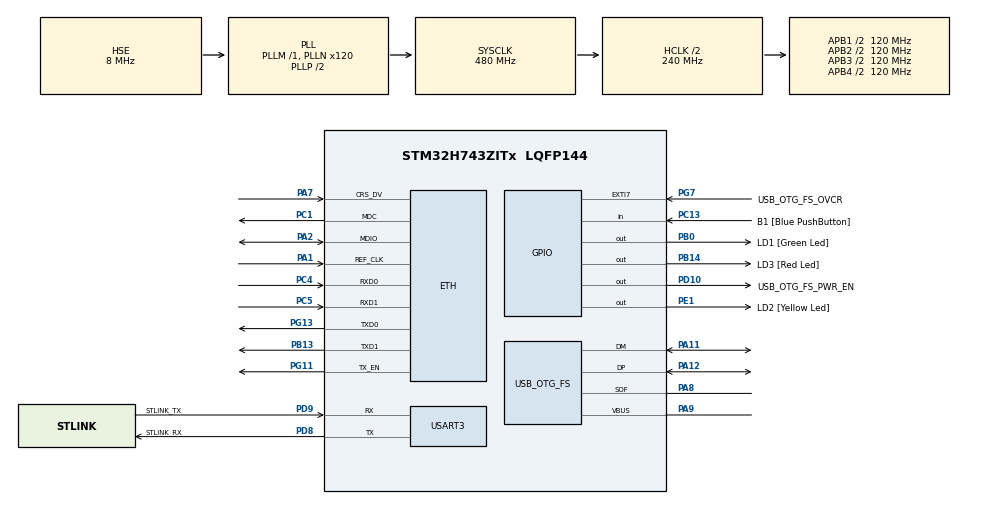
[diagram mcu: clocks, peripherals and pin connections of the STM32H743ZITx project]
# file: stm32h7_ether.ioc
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CORTEX_M7.AccessPermission-Cortex_Memory_Protection_Unit_Region0_Settings=MPU_REGION_FULL_ACCESS
CORTEX_M7.AccessPermission-Cortex_Memory_Protection_Unit_Region1_Settings=MPU_REGION_FULL_ACCESS
CORTEX_M7.BaseAddress-Cortex_Memory_Protection_Unit_Region0_Settings=0x30040000
CORTEX_M7.BaseAddress-Cortex_Memory_Protection_Unit_Region1_Settings=0x30040000
CORTEX_M7.CPU_DCache=Enabled
CORTEX_M7.CPU_ICache=Enabled
CORTEX_M7.DisableExec-Cortex_Memory_Protection_Unit_Region0_Settings=MPU_INSTRUCTION_ACCESS_DISABLE
CORTEX_M7.DisableExec-Cortex_Memory_Protection_Unit_Region1_Settings=MPU_INSTRUCTION_ACCESS_DISABLE
CORTEX_M7.Enable-Cortex_Memory_Protection_Unit_Region0_Settings=MPU_REGION_ENABLE
CORTEX_M7.Enable-Cortex_Memory_Protection_Unit_Region1_Settings=MPU_REGION_ENABLE
CORTEX_M7.IsBufferable-Cortex_Memory_Protection_Unit_Region1_Settings=MPU_ACCESS_BUFFERABLE
CORTEX_M7.IsShareable-Cortex_Memory_Protection_Unit_Region1_Settings=MPU_ACCESS_SHAREABLE
CORTEX_M7.MPU_Control=MPU_PRIVILEGED_DEFAULT
CORTEX_M7.Size-Cortex_Memory_Protection_Unit_Region0_Settings=MPU_REGION_SIZE_32KB
CORTEX_M7.Size-Cortex_Memory_Protection_Unit_Region1_Settings=MPU_REGION_SIZE_256B
CORTEX_M7.TypeExtField-Cortex_Memory_Protection_Unit_Region0_Settings=MPU_TEX_LEVEL1
ETH.MediaInterface=HAL_ETH_RMII_MODE
FREERTOS.Tasks01=defaultTask,0,256,StartDefaultTask,Default,NULL,Dynamic,NULL,NULL
LWIP.BSP.number=1
LWIP.IP_ADDRESS=192.168.000.010
LWIP.LWIP_DHCP=0
LWIP.MEM_SIZE=16360
LWIP.NETMASK_ADDRESS=255.255.255.000
LWIP.Version=v2.1.2_Cube
LWIP0.BSP.STBoard=false
LWIP0.BSP.api=BSP_COMPONENT_DRIVER
LWIP0.BSP.component=LAN8742
LWIP0.BSP.i2caddr=0
LWIP0.BSP.instance=LAN8742
LWIP0.BSP.name=Driver_PHY
LWIP0.BSP.solution=LAN8742
Mcu.Family=STM32H7
Mcu.Name=STM32H743ZITx
Mcu.Package=LQFP144
NVIC.ETH_IRQn=true\:5\:0\:true\:false\:true\:true\:true\:true
NVIC.PriorityGroup=NVIC_PRIORITYGROUP_4
NVIC.TIM2_IRQn=true\:0\:0\:false\:false\:true\:false\:false\:true
NVIC.TimeBase=TIM2_IRQn
NVIC.TimeBaseIP=TIM2
PA1.GPIO_Speed=GPIO_SPEED_FREQ_VERY_HIGH
PA1.Mode=RMII
PA1.Signal=ETH_REF_CLK
PA11.Mode=Device_Only
PA11.Signal=USB_OTG_FS_DM
PA12.Mode=Device_Only
PA12.Signal=USB_OTG_FS_DP
PA2.GPIO_Speed=GPIO_SPEED_FREQ_VERY_HIGH
PA2.Mode=RMII
PA2.Signal=ETH_MDIO
PA7.GPIO_Speed=GPIO_SPEED_FREQ_VERY_HIGH
PA7.Mode=RMII
PA7.Signal=ETH_CRS_DV
PA8.Mode=Activate_SOF_FS
PA8.Signal=USB_OTG_FS_SOF
PA9.Mode=Activate_VBUS
PA9.Signal=USB_OTG_FS_VBUS
PB0.GPIO_Label=LD1 [Green Led]
PB0.Signal=GPIO_Output
PB13.GPIO_Speed=GPIO_SPEED_FREQ_VERY_HIGH
PB13.Mode=RMII
PB13.Signal=ETH_TXD1
PB14.GPIO_Label=LD3 [Red Led]
PB14.Signal=GPIO_Output
PC1.GPIO_Speed=GPIO_SPEED_FREQ_VERY_HIGH
PC1.Mode=RMII
PC1.Signal=ETH_MDC
PC13.GPIO_Label=B1 [Blue PushButton]
PC13.Signal=GPIO_Input
PC14-OSC32_IN\ (OSC32_IN).Mode=LSE-External-Oscillator
PC14-OSC32_IN\ (OSC32_IN).Signal=RCC_OSC32_IN
PC15-OSC32_OUT\ (OSC32_OUT).Mode=LSE-External-Oscillator
PC15-OSC32_OUT\ (OSC32_OUT).Signal=RCC_OSC32_OUT
PC4.GPIO_Speed=GPIO_SPEED_FREQ_VERY_HIGH
PC4.Mode=RMII
PC4.Signal=ETH_RXD0
PC5.GPIO_Speed=GPIO_SPEED_FREQ_VERY_HIGH
PC5.Mode=RMII
PC5.Signal=ETH_RXD1
PD10.GPIO_Label=USB_OTG_FS_PWR_EN
PD10.Signal=GPIO_Output
PD8.GPIO_Label=STLINK_RX
PD8.Mode=Asynchronous
PD8.Signal=USART3_TX
PD9.GPIO_Label=STLINK_TX
PD9.Mode=Asynchronous
PD9.Signal=USART3_RX
PE1.GPIO_Label=LD2 [Yellow Led]
PE1.Signal=GPIO_Output
PG11.GPIO_Speed=GPIO_SPEED_FREQ_VERY_HIGH
PG11.Mode=RMII
PG11.Signal=ETH_TX_EN
PG13.GPIO_Speed=GPIO_SPEED_FREQ_VERY_HIGH
PG13.Mode=RMII
PG13.Signal=ETH_TXD0
PG7.GPIO_Label=USB_OTG_FS_OVCR
PG7.Signal=GPXTI7
PH0-OSC_IN\ (PH0).Mode=HSE-External-Clock-Source
PH0-OSC_IN\ (PH0).Signal=RCC_OSC_IN
PH1-OSC_OUT\ (PH1).Signal=RCC_OSC_OUT
ProjectManager.HeapSize=0x800
ProjectManager.StackSize=0x1600
ProjectManager.TargetToolchain=MDK-ARM V5.27
RCC.ADCFreq_Value=16125000
RCC.APB1Freq_Value=120000000
RCC.APB2Freq_Value=120000000
RCC.APB3Freq_Value=120000000
RCC.APB4Freq_Value=120000000
RCC.CortexFreq_Value=480000000
RCC.D1PPRE=RCC_APB3_DIV2
RCC.D2PPRE1=RCC_APB1_DIV2
RCC.D2PPRE2=RCC_APB2_DIV2
RCC.D3PPRE=RCC_APB4_DIV2
RCC.DIVM1=1
RCC.DIVN1=120
RCC.DIVQ1=20
RCC.HCLKFreq_Value=240000000
RCC.HPRE=RCC_HCLK_DIV2
RCC.HSE_VALUE=8000000
RCC.PLL2FRACN=0
RCC.PLL3FRACN=0
RCC.PLLFRACN=0
RCC.SYSCLKFreq_VALUE=480000000
RCC.SYSCLKSource=RCC_SYSCLKSOURCE_PLLCLK
RCC.USBFreq_Value=48000000
USART3.VirtualMode-Asynchronous=VM_ASYNC
USB_OTG_FS.VirtualMode=Device_Only
VP_FREERTOS_VS_CMSIS_V1.Mode=CMSIS_V1
VP_LWIP_VS_Enabled.Mode=Enabled
VP_SYS_VS_tim2.Mode=TIM2
board=NUCLEO-H743ZI2

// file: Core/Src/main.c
/* USER CODE BEGIN Header */
/**
  ******************************************************************************
  * @file           : main.c
  * @brief          : Main program body
  ******************************************************************************
  * @attention
  *
  * <h2><center>&copy; Copyright (c) 2020 STMicroelectronics.
  * All rights reserved.</center></h2>
  *
  * This software component is licensed by ST under Ultimate Liberty license
  * SLA0044, the "License"; You may not use this file except in compliance with
  * the License. You may obtain a copy of the License at:
  *                             www.st.com/SLA0044
  *
  ******************************************************************************
  */
/* USER CODE END Header */
#include "main.h"
#include "cmsis_os.h"
#include "lwip.h"

/* USER CODE BEGIN Includes */
#include "lwip/opt.h"

#include "lwip/arch.h"

#include "lwip/api.h"
/* USER CODE END Includes */

UART_HandleTypeDef huart3;

PCD_HandleTypeDef hpcd_USB_OTG_FS;

osThreadId defaultTaskHandle;

void SystemClock_Config(void);
static void MPU_Config(void);
static void MX_GPIO_Init(void);
static void MX_USART3_UART_Init(void);
static void MX_USB_OTG_FS_PCD_Init(void);
void StartDefaultTask(void const * argument);

int main(void)
{

  /* MPU Configuration--------------------------------------------------------*/
  MPU_Config();

  /* Enable I-Cache---------------------------------------------------------*/
  SCB_EnableICache();

  /* Enable D-Cache---------------------------------------------------------*/
  SCB_EnableDCache();

  /* MCU Configuration--------------------------------------------------------*/

  /* Reset of all peripherals, Initializes the Flash interface and the Systick. */
  HAL_Init();

  /* Configure the system clock */
  SystemClock_Config();

  /* Initialize all configured peripherals */
  MX_GPIO_Init();
  MX_USART3_UART_Init();
  MX_USB_OTG_FS_PCD_Init();

  /* Create the thread(s) */
  /* definition and creation of defaultTask */
  osThreadDef(defaultTask, StartDefaultTask, osPriorityNormal, 0, 256);
  defaultTaskHandle = osThreadCreate(osThread(defaultTask), NULL);

  /* Start scheduler */
  osKernelStart();

  /* We should never get here as control is now taken by the scheduler */
  /* Infinite loop */
  while (1)
  {

  }
}

void SystemClock_Config(void)
{
  RCC_OscInitTypeDef RCC_OscInitStruct = {0};
  RCC_ClkInitTypeDef RCC_ClkInitStruct = {0};
  RCC_PeriphCLKInitTypeDef PeriphClkInitStruct = {0};

  /** Supply configuration update enable
  */
  HAL_PWREx_ConfigSupply(PWR_LDO_SUPPLY);
  /** Configure the main internal regulator output voltage
  */
  __HAL_PWR_VOLTAGESCALING_CONFIG(PWR_REGULATOR_VOLTAGE_SCALE0);

  while(!__HAL_PWR_GET_FLAG(PWR_FLAG_VOSRDY)) {}
  /** Initializes the RCC Oscillators according to the specified parameters
  * in the RCC_OscInitTypeDef structure.
  */
  RCC_OscInitStruct.OscillatorType = RCC_OSCILLATORTYPE_HSE;
  RCC_OscInitStruct.HSEState = RCC_HSE_BYPASS;
  RCC_OscInitStruct.PLL.PLLState = RCC_PLL_ON;
  RCC_OscInitStruct.PLL.PLLSource = RCC_PLLSOURCE_HSE;
  RCC_OscInitStruct.PLL.PLLM = 1;
  RCC_OscInitStruct.PLL.PLLN = 120;
  RCC_OscInitStruct.PLL.PLLP = 2;
  RCC_OscInitStruct.PLL.PLLQ = 20;
  RCC_OscInitStruct.PLL.PLLR = 2;
  RCC_OscInitStruct.PLL.PLLRGE = RCC_PLL1VCIRANGE_3;
  RCC_OscInitStruct.PLL.PLLVCOSEL = RCC_PLL1VCOWIDE;
  RCC_OscInitStruct.PLL.PLLFRACN = 0;
  if (HAL_RCC_OscConfig(&RCC_OscInitStruct) != HAL_OK)
  {
    Error_Handler();
  }
  /** Initializes the CPU, AHB and APB buses clocks
  */
  RCC_ClkInitStruct.ClockType = RCC_CLOCKTYPE_HCLK|RCC_CLOCKTYPE_SYSCLK
                              |RCC_CLOCKTYPE_PCLK1|RCC_CLOCKTYPE_PCLK2
                              |RCC_CLOCKTYPE_D3PCLK1|RCC_CLOCKTYPE_D1PCLK1;
  RCC_ClkInitStruct.SYSCLKSource = RCC_SYSCLKSOURCE_PLLCLK;
  RCC_ClkInitStruct.SYSCLKDivider = RCC_SYSCLK_DIV1;
  RCC_ClkInitStruct.AHBCLKDivider = RCC_HCLK_DIV2;
  RCC_ClkInitStruct.APB3CLKDivider = RCC_APB3_DIV2;
  RCC_ClkInitStruct.APB1CLKDivider = RCC_APB1_DIV2;
  RCC_ClkInitStruct.APB2CLKDivider = RCC_APB2_DIV2;
  RCC_ClkInitStruct.APB4CLKDivider = RCC_APB4_DIV2;

  if (HAL_RCC_ClockConfig(&RCC_ClkInitStruct, FLASH_LATENCY_4) != HAL_OK)
  {
    Error_Handler();
  }
  PeriphClkInitStruct.PeriphClockSelection = RCC_PERIPHCLK_USART3|RCC_PERIPHCLK_USB;
  PeriphClkInitStruct.Usart234578ClockSelection = RCC_USART234578CLKSOURCE_D2PCLK1;
  PeriphClkInitStruct.UsbClockSelection = RCC_USBCLKSOURCE_PLL;
  if (HAL_RCCEx_PeriphCLKConfig(&PeriphClkInitStruct) != HAL_OK)
  {
    Error_Handler();
  }
  /** Enable USB Voltage detector
  */
  HAL_PWREx_EnableUSBVoltageDetector();
}

static void MX_USART3_UART_Init(void)
{

  huart3.Instance = USART3;
  huart3.Init.BaudRate = 115200;
  huart3.Init.WordLength = UART_WORDLENGTH_8B;
  huart3.Init.StopBits = UART_STOPBITS_1;
  huart3.Init.Parity = UART_PARITY_NONE;
  huart3.Init.Mode = UART_MODE_TX_RX;
  huart3.Init.HwFlowCtl = UART_HWCONTROL_NONE;
  huart3.Init.OverSampling = UART_OVERSAMPLING_16;
  huart3.Init.OneBitSampling = UART_ONE_BIT_SAMPLE_DISABLE;
  huart3.Init.ClockPrescaler = UART_PRESCALER_DIV1;
  huart3.AdvancedInit.AdvFeatureInit = UART_ADVFEATURE_NO_INIT;
  if (HAL_UART_Init(&huart3) != HAL_OK)
  {
    Error_Handler();
  }
  if (HAL_UARTEx_SetTxFifoThreshold(&huart3, UART_TXFIFO_THRESHOLD_1_8) != HAL_OK)
  {
    Error_Handler();
  }
  if (HAL_UARTEx_SetRxFifoThreshold(&huart3, UART_RXFIFO_THRESHOLD_1_8) != HAL_OK)
  {
    Error_Handler();
  }
  if (HAL_UARTEx_DisableFifoMode(&huart3) != HAL_OK)
  {
    Error_Handler();
  }

}

static void MX_USB_OTG_FS_PCD_Init(void)
{

  hpcd_USB_OTG_FS.Instance = USB_OTG_FS;
  hpcd_USB_OTG_FS.Init.dev_endpoints = 9;
  hpcd_USB_OTG_FS.Init.speed = PCD_SPEED_FULL;
  hpcd_USB_OTG_FS.Init.dma_enable = DISABLE;
  hpcd_USB_OTG_FS.Init.phy_itface = PCD_PHY_EMBEDDED;
  hpcd_USB_OTG_FS.Init.Sof_enable = ENABLE;
  hpcd_USB_OTG_FS.Init.low_power_enable = DISABLE;
  hpcd_USB_OTG_FS.Init.lpm_enable = DISABLE;
  hpcd_USB_OTG_FS.Init.battery_charging_enable = ENABLE;
  hpcd_USB_OTG_FS.Init.vbus_sensing_enable = ENABLE;
  hpcd_USB_OTG_FS.Init.use_dedicated_ep1 = DISABLE;
  if (HAL_PCD_Init(&hpcd_USB_OTG_FS) != HAL_OK)
  {
    Error_Handler();
  }

}

static void MX_GPIO_Init(void)
{
  GPIO_InitTypeDef GPIO_InitStruct = {0};

  /* GPIO Ports Clock Enable */
  __HAL_RCC_GPIOC_CLK_ENABLE();
  __HAL_RCC_GPIOH_CLK_ENABLE();
  __HAL_RCC_GPIOA_CLK_ENABLE();
  __HAL_RCC_GPIOB_CLK_ENABLE();
  __HAL_RCC_GPIOD_CLK_ENABLE();
  __HAL_RCC_GPIOG_CLK_ENABLE();
  __HAL_RCC_GPIOE_CLK_ENABLE();

  /*Configure GPIO pin Output Level */
  HAL_GPIO_WritePin(GPIOB, LD1_Pin|LD3_Pin, GPIO_PIN_RESET);

  /*Configure GPIO pin Output Level */
  HAL_GPIO_WritePin(USB_OTG_FS_PWR_EN_GPIO_Port, USB_OTG_FS_PWR_EN_Pin, GPIO_PIN_RESET);

  /*Configure GPIO pin Output Level */
  HAL_GPIO_WritePin(LD2_GPIO_Port, LD2_Pin, GPIO_PIN_RESET);

  /*Configure GPIO pin : B1_Pin */
  GPIO_InitStruct.Pin = B1_Pin;
  GPIO_InitStruct.Mode = GPIO_MODE_INPUT;
  GPIO_InitStruct.Pull = GPIO_NOPULL;
  HAL_GPIO_Init(B1_GPIO_Port, &GPIO_InitStruct);

  /*Configure GPIO pins : LD1_Pin LD3_Pin */
  GPIO_InitStruct.Pin = LD1_Pin|LD3_Pin;
  GPIO_InitStruct.Mode = GPIO_MODE_OUTPUT_PP;
  GPIO_InitStruct.Pull = GPIO_NOPULL;
  GPIO_InitStruct.Speed = GPIO_SPEED_FREQ_LOW;
  HAL_GPIO_Init(GPIOB, &GPIO_InitStruct);

  /*Configure GPIO pin : USB_OTG_FS_PWR_EN_Pin */
  GPIO_InitStruct.Pin = USB_OTG_FS_PWR_EN_Pin;
  GPIO_InitStruct.Mode = GPIO_MODE_OUTPUT_PP;
  GPIO_InitStruct.Pull = GPIO_NOPULL;
  GPIO_InitStruct.Speed = GPIO_SPEED_FREQ_LOW;
  HAL_GPIO_Init(USB_OTG_FS_PWR_EN_GPIO_Port, &GPIO_InitStruct);

  /*Configure GPIO pin : USB_OTG_FS_OVCR_Pin */
  GPIO_InitStruct.Pin = USB_OTG_FS_OVCR_Pin;
  GPIO_InitStruct.Mode = GPIO_MODE_IT_RISING;
  GPIO_InitStruct.Pull = GPIO_NOPULL;
  HAL_GPIO_Init(USB_OTG_FS_OVCR_GPIO_Port, &GPIO_InitStruct);

  /*Configure GPIO pin : LD2_Pin */
  GPIO_InitStruct.Pin = LD2_Pin;
  GPIO_InitStruct.Mode = GPIO_MODE_OUTPUT_PP;
  GPIO_InitStruct.Pull = GPIO_NOPULL;
  GPIO_InitStruct.Speed = GPIO_SPEED_FREQ_LOW;
  HAL_GPIO_Init(LD2_GPIO_Port, &GPIO_InitStruct);

}

void StartDefaultTask(void const * argument)
{
  /* init code for LWIP */
  MX_LWIP_Init();
  /* USER CODE BEGIN 5 */
    const char* message = "Hello UDP messageHello UDP messageHello UDP messageHello UDP messageHello UDP messageHello UDP messageHello UDP messageHello UDP messageHello UDP messageHello UDP messageHello UDP messageHello UDP messageHello UDP messageHello UDP messageHello UDP messageHello UDP messageHello UDP messageHello UDP messageHello UDP messageHello UDP messageHello UDP messageHello UDP messageHello UDP messageHello UDP messageHello UDP messageHello UDP messageHello UDP messageHello UDP messageHello UDP messageHello UDP messageHello UDP messageHello UDP messageHello UDP messageHello UDP messageHello UDP messageHello UDP messageHello UDP messageHello UDP messageHello UDP message!\n\r";

	osDelay(1000);

	ip_addr_t PC_IPADDR;
	IP_ADDR4(&PC_IPADDR, 192, 168, 0, 1);
	unsigned short port = 55151;

//	struct udp_pcb* udp_in = udp_new();
//	udp_connect(udp_in, &PC_IPADDR, 55151);
//
//	struct udp_pcb* udp_out = udp_new();
//	udp_bind(udp_out);
//	struct pbuf* udp_buffer = NULL;

	struct netconn *conn;
  struct netbuf *buf;
	conn = netconn_new(NETCONN_UDP);
	err_t err;

	if (conn!= NULL) err = netconn_bind(conn, IP_ADDR_ANY, port);

	if (err == ERR_OK)
	{
		if(netconn_recv(conn, &buf) == ERR_OK)
		{
			netconn_connect(conn, netbuf_fromaddr(buf), netbuf_fromport(buf));
			netconn_send(conn,buf);
		}
		/* Infinite loop */
		for (;;)
		{
			if(netconn_recv(conn, &buf) == ERR_OK)
			{
				netconn_send(conn, buf);
			}
		}
	} else {
  netconn_delete(conn);
	}
  /* USER CODE END 5 */
}

/* MPU Configuration */

void MPU_Config(void)
{
  MPU_Region_InitTypeDef MPU_InitStruct = {0};

  /* Disables the MPU */
  HAL_MPU_Disable();
  /** Initializes and configures the Region and the memory to be protected
  */
  MPU_InitStruct.Enable = MPU_REGION_ENABLE;
  MPU_InitStruct.Number = MPU_REGION_NUMBER0;
  MPU_InitStruct.BaseAddress = 0x30040000;
  MPU_InitStruct.Size = MPU_REGION_SIZE_32KB;
  MPU_InitStruct.SubRegionDisable = 0x0;
  MPU_InitStruct.TypeExtField = MPU_TEX_LEVEL1;
  MPU_InitStruct.AccessPermission = MPU_REGION_FULL_ACCESS;
  MPU_InitStruct.DisableExec = MPU_INSTRUCTION_ACCESS_DISABLE;
  MPU_InitStruct.IsShareable = MPU_ACCESS_NOT_SHAREABLE;
  MPU_InitStruct.IsCacheable = MPU_ACCESS_NOT_CACHEABLE;
  MPU_InitStruct.IsBufferable = MPU_ACCESS_NOT_BUFFERABLE;

  HAL_MPU_ConfigRegion(&MPU_InitStruct);
  /** Initializes and configures the Region and the memory to be protected
  */
  MPU_InitStruct.Enable = MPU_REGION_ENABLE;
  MPU_InitStruct.Number = MPU_REGION_NUMBER1;
  MPU_InitStruct.BaseAddress = 0x30040000;
  MPU_InitStruct.Size = MPU_REGION_SIZE_256B;
  MPU_InitStruct.SubRegionDisable = 0x0;
  MPU_InitStruct.TypeExtField = MPU_TEX_LEVEL0;
  MPU_InitStruct.AccessPermission = MPU_REGION_FULL_ACCESS;
  MPU_InitStruct.DisableExec = MPU_INSTRUCTION_ACCESS_DISABLE;
  MPU_InitStruct.IsShareable = MPU_ACCESS_SHAREABLE;
  MPU_InitStruct.IsCacheable = MPU_ACCESS_NOT_CACHEABLE;
  MPU_InitStruct.IsBufferable = MPU_ACCESS_BUFFERABLE;

  HAL_MPU_ConfigRegion(&MPU_InitStruct);
  /* Enables the MPU */
  HAL_MPU_Enable(MPU_PRIVILEGED_DEFAULT);

}
void HAL_TIM_PeriodElapsedCallback(TIM_HandleTypeDef *htim)
{
  if (htim->Instance == TIM2) {
    HAL_IncTick();
  }
}

void Error_Handler(void)
{
}

/************************ (C) COPYRIGHT STMicroelectronics *****END OF FILE****/
